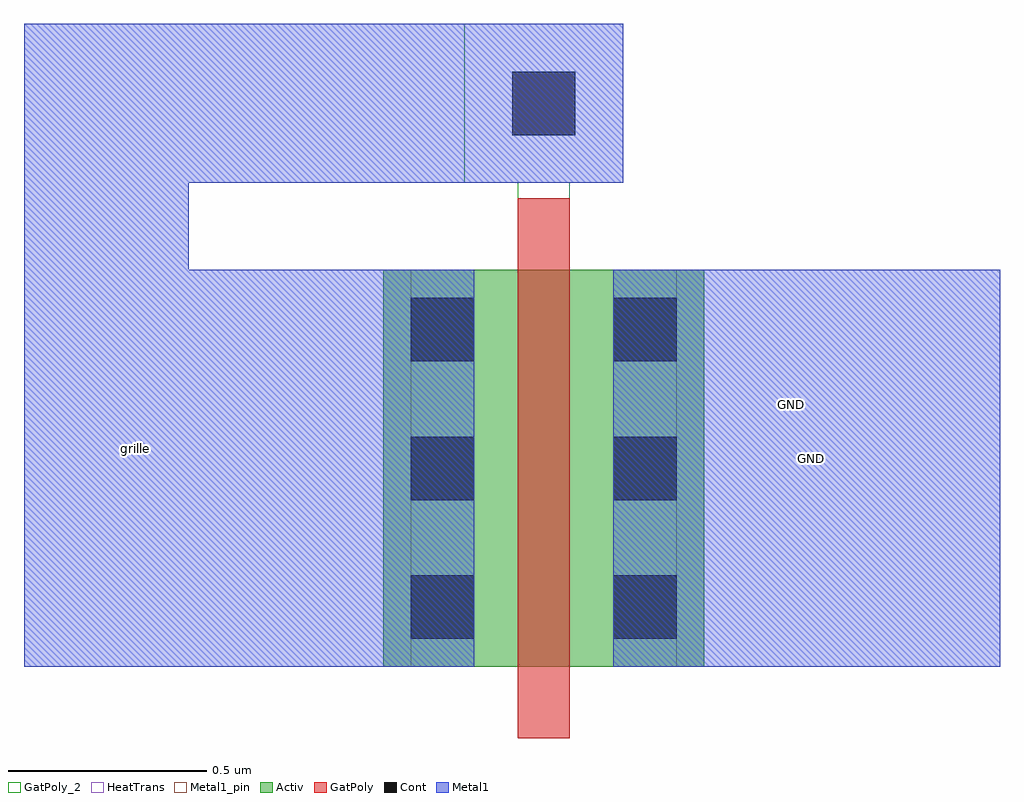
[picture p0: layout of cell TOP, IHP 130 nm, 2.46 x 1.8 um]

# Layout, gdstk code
from math import pi, radians
import gdstk
lib = gdstk.Library(unit=1e-6, precision=1e-09)
def R(c, l, rs):  # rectangles x0, y0, x1, y1
    for r in rs: c.add(gdstk.rectangle(r[:2], r[2:], *l))
def A(c, l, x, y, w, h, nx, ny, dx, dy):  # array of equal rectangles
    R(c, l, [(x+i*dx, y+j*dy, x+i*dx+w, y+j*dy+h) for i in range(nx) for j in range(ny)])
def P(c, l, *ps):  # polygons
    for p in ps: c.add(gdstk.Polygon(p, *l))
Activ = (1, 0)
GatPoly = (5, 0)
GatPoly_2 = (5, 2)
Cont = (6, 0)
Metal1 = (8, 0)
Metal1_pin = (8, 2)
HeatTrans = (51, 0)

nmos_1 = lib.new_cell('nmos$1')
R(nmos_1, Activ, [(0,0,0.3,0.3), (0,0,0.81,1), (0.51,0,0.81,0.3)])
R(nmos_1, GatPoly, [(0.34,-0.18,0.47,1.18)])
R(nmos_1, GatPoly_2, [(0.34,-0.18,0.47,1.18)])
A(nmos_1, Cont, 0.07, 0.07, 0.16, 0.16, 1, 3, 0, 0.35)
A(nmos_1, Cont, 0.58, 0.07, 0.16, 0.16, 1, 3, 0, 0.35)
R(nmos_1, Metal1, [(0.07,0,0.23,1), (0.58,0,0.74,1)])
R(nmos_1, Metal1_pin, [(0.07,0,0.23,1), (0.58,0,0.74,1)])
R(nmos_1, HeatTrans, [(0.34,-0.18,0.47,1.18)])
nmos_1.add(gdstk.Label('nmos', (0.405,0.5), layer=63, texttype=0))
nmos_1.add(gdstk.Label('nmos', (0.405,0.5), layer=51, texttype=0))

top = lib.new_cell('TOP')
R(top, GatPoly_2, [(3.03,1.47,3.16,1.51), (2.895,1.51,3.295,1.91)])
R(top, Cont, [(3.015,1.63,3.175,1.79)])
R(top, Metal1, [(3.27,0.29,4.245,1.29)])
P(top, Metal1, [(1.785,0.29),(1.785,1.91),(3.295,1.91),(3.295,1.51),(2.2,1.51),(2.2,1.29),(2.92,1.29),(2.92,0.29)])
top.add(gdstk.Reference(nmos_1, (3.5,0.29), rotation=pi, x_reflection=True))
top.add(gdstk.Label('grille', (2.065,0.84), layer=8, texttype=1))
top.add(gdstk.Label('GND', (3.77,0.815), layer=8, texttype=1))
top.add(gdstk.Label('grille', (2.055,0.81), layer=8, texttype=3))
top.add(gdstk.Label('GND', (3.72,0.95), layer=8, texttype=3))

lib.write_gds('TOP.gds')
